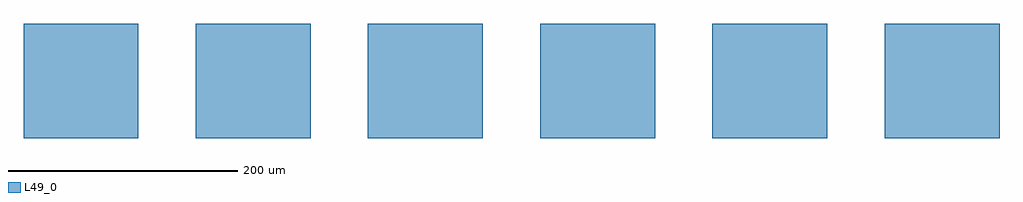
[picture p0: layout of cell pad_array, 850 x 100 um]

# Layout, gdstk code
import gdstk
lib = gdstk.Library(unit=1e-6, precision=1e-09)
def R(c, l, rs):  # rectangles x0, y0, x1, y1
    for r in rs: c.add(gdstk.rectangle(r[:2], r[2:], *l))
L49_0 = (49, 0)

rectangle_layer49_0_size = lib.new_cell('rectangle_layer49_0_size100_100')
R(rectangle_layer49_0_size, L49_0, [(0,0,100,100)])

compass_layer49_0_size10 = lib.new_cell('compass_layer49_0_size100_100')
compass_layer49_0_size10.add(gdstk.Reference(rectangle_layer49_0_size, (-50,-50)))

pad = lib.new_cell('pad')
pad.add(gdstk.Reference(compass_layer49_0_size10, (0,0)))

pad_array = lib.new_cell('pad_array')
r = gdstk.Reference(pad, (0,0)); r.repetition = gdstk.Repetition(6, 1, v1=(150,0), v2=(0,150)); pad_array.add(r)

lib.write_gds('pad_array.gds')
